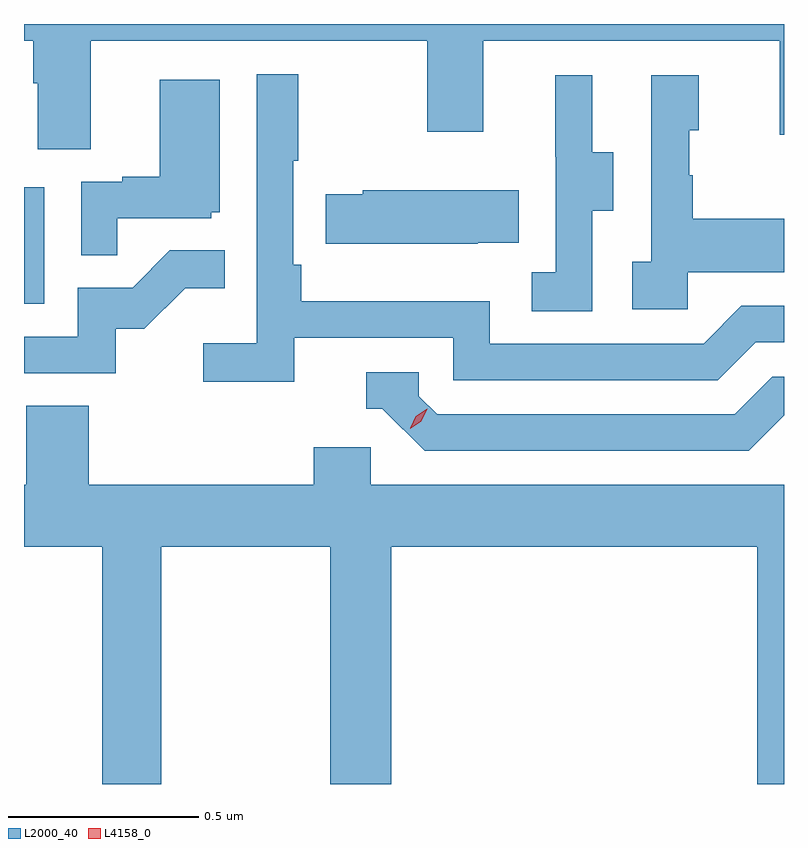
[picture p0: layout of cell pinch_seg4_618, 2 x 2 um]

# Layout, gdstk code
import gdstk
lib = gdstk.Library(unit=1e-6, precision=1e-09)
def R(c, l, rs):  # rectangles x0, y0, x1, y1
    for r in rs: c.add(gdstk.rectangle(r[:2], r[2:], *l))
def P(c, l, *ps):  # polygons
    for p in ps: c.add(gdstk.Polygon(p, *l))
L2000_40 = (2000, 40)
L4158_0 = (4158, 0)

pinch_seg4_618 = lib.new_cell('pinch_seg4_618')
R(pinch_seg4_618, L2000_40, [(1022.129,770.82,1022.182,771.127)])
P(pinch_seg4_618, L2000_40, [(1022.305,771.512),(1023.19,771.512),(1023.19,771.273),(1023.337,771.273),(1023.337,771.512),(1024.118,771.512),(1024.118,771.264),(1024.129,771.264),(1024.129,771.556),(1022.129,771.556),(1022.129,771.512),(1022.153,771.512),(1022.153,771.4),(1022.165,771.4),(1022.165,771.226),(1022.305,771.226)],
  [(1022.84,770.73),(1023.258,770.73),(1023.258,770.619),(1023.955,770.619),(1024.054,770.718),(1024.129,770.718),(1024.129,770.814),(1024.017,770.814),(1023.918,770.715),(1023.354,770.715),(1023.354,770.827),(1022.858,770.827),(1022.858,770.923),(1022.838,770.923),(1022.838,771.196),(1022.851,771.196),(1022.851,771.424),(1022.742,771.424),(1022.742,770.716),(1022.601,770.716),(1022.601,770.614),(1022.84,770.614)],
  [(1023.624,771.064),(1023.679,771.064),(1023.679,771.219),(1023.625,771.219),(1023.625,771.421),(1023.527,771.421),(1023.527,771.207),(1023.528,771.207),(1023.528,770.903),(1023.465,770.903),(1023.465,770.8),(1023.624,770.8)],
  [(1023.876,770.903),(1024.129,770.903),(1024.129,771.043),(1023.889,771.043),(1023.889,771.158),(1023.879,771.158),(1023.879,771.276),(1023.904,771.276),(1023.904,771.421),(1023.78,771.421),(1023.78,770.93),(1023.729,770.93),(1023.729,770.805),(1023.876,770.805)],
  [(1022.375,771.045),(1022.622,771.045),(1022.622,771.06),(1022.644,771.06),(1022.644,771.409),(1022.486,771.409),(1022.486,771.154),(1022.387,771.154),(1022.387,771.141),(1022.28,771.141),(1022.28,770.947),(1022.375,770.947)],
  [(1023.323,770.981),(1023.431,770.981),(1023.431,771.118),(1023.021,771.118),(1023.021,771.108),(1022.923,771.108),(1022.923,770.978),(1023.323,770.978)],
  [(1022.37,770.754),(1022.446,770.754),(1022.553,770.861),(1022.657,770.861),(1022.657,770.96),(1022.513,770.96),(1022.415,770.862),(1022.271,770.862),(1022.271,770.733),(1022.129,770.733),(1022.129,770.637),(1022.37,770.637)],
  [(1024.129,770.526),(1024.129,770.628),(1024.098,770.628),(1023.999,770.529),(1023.216,770.529),(1023.168,770.577),(1023.168,770.64),(1023.029,770.64),(1023.029,770.544),(1023.072,770.544),(1023.183,770.433),(1024.036,770.433)],
  [(1022.49,770.18),(1022.935,770.18),(1022.935,769.556),(1023.095,769.556),(1023.095,770.18),(1024.058,770.18),(1024.058,769.556),(1024.129,769.556),(1024.129,770.344),(1023.042,770.344),(1023.042,770.442),(1022.891,770.442),(1022.891,770.344),(1022.3,770.344),(1022.3,770.552),(1022.135,770.552),(1022.135,770.344),(1022.129,770.344),(1022.129,770.18),(1022.335,770.18),(1022.335,769.556),(1022.49,769.556)])
P(pinch_seg4_618, L4158_0, [(1023.145,770.491),(1023.145,770.492),(1023.16,770.524),(1023.19,770.544),(1023.19,770.544),(1023.19,770.543),(1023.175,770.511),(1023.145,770.491)])

lib.write_gds('pinch_seg4_618.gds')
